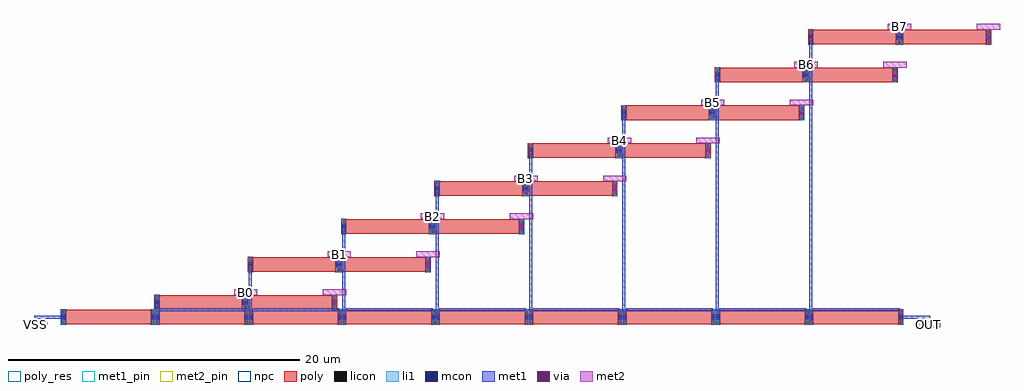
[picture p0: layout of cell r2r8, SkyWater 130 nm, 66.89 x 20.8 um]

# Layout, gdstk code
import gdstk
lib = gdstk.Library(unit=1e-6, precision=1e-09)
def R(c, l, rs):  # rectangles x0, y0, x1, y1
    for r in rs: c.add(gdstk.rectangle(r[:2], r[2:], *l))
def A(c, l, x, y, w, h, nx, ny, dx, dy):  # array of equal rectangles
    R(c, l, [(x+i*dx, y+j*dy, x+i*dx+w, y+j*dy+h) for i in range(nx) for j in range(ny)])
poly_res = (66, 13)
poly = (66, 20)
licon = (66, 44)
li1 = (67, 20)
mcon = (67, 44)
met1_pin = (68, 16)
met1 = (68, 20)
via = (68, 44)
met2_pin = (69, 16)
met2 = (69, 20)
npc = (95, 20)

r2r8 = lib.new_cell('r2r8')
A(r2r8, poly_res, 1, 1, 6, 1, 9, 1, 6.4, 0)
R(r2r8, poly_res, [(7.4,2,13.4,3), (13.4,2,19.4,3), (13.8,4.6,19.8,5.6), (19.8,4.6,25.8,5.6), (20.2,7.2,26.2,8.2), (26.2,7.2,32.2,8.2), (26.6,9.8,32.6,10.8), (32.6,9.8,38.6,10.8), (33,12.4,39,13.4), (39,12.4,45,13.4), (39.4,15,45.4,16), (45.4,15,51.4,16), (45.8,17.6,51.8,18.6), (51.8,17.6,57.8,18.6), (52.2,20.2,58.2,21.2), (58.2,20.2,64.2,21.2)])
A(r2r8, poly, 0.75, 1, 6.5, 1, 9, 1, 6.4, 0)
R(r2r8, poly, [(7.15,2,13.65,3), (13.15,2,19.65,3), (13.55,4.6,20.05,5.6), (19.55,4.6,26.05,5.6), (19.95,7.2,26.45,8.2), (25.95,7.2,32.45,8.2), (26.35,9.8,32.85,10.8), (32.35,9.8,38.85,10.8), (32.75,12.4,39.25,13.4), (38.75,12.4,45.25,13.4), (39.15,15,45.65,16), (45.15,15,51.65,16), (45.55,17.6,52.05,18.6), (51.55,17.6,58.05,18.6), (51.95,20.2,58.45,21.2), (57.95,20.2,64.45,21.2)])
A(r2r8, licon, 0.83, 1.075, 0.17, 0.17, 1, 3, 0, 0.34)
A(r2r8, licon, 7, 1.075, 0.17, 0.17, 1, 3, 0, 0.34)
A(r2r8, licon, 7.23, 1.075, 0.17, 0.17, 1, 3, 0, 0.34)
A(r2r8, licon, 13.4, 1.075, 0.17, 0.17, 1, 3, 0, 0.34)
A(r2r8, licon, 13.63, 1.075, 0.17, 0.17, 1, 3, 0, 0.34)
A(r2r8, licon, 19.8, 1.075, 0.17, 0.17, 1, 3, 0, 0.34)
A(r2r8, licon, 20.03, 1.075, 0.17, 0.17, 1, 3, 0, 0.34)
A(r2r8, licon, 26.2, 1.075, 0.17, 0.17, 1, 3, 0, 0.34)
A(r2r8, licon, 26.43, 1.075, 0.17, 0.17, 1, 3, 0, 0.34)
A(r2r8, licon, 32.6, 1.075, 0.17, 0.17, 1, 3, 0, 0.34)
A(r2r8, licon, 32.83, 1.075, 0.17, 0.17, 1, 3, 0, 0.34)
A(r2r8, licon, 39, 1.075, 0.17, 0.17, 1, 3, 0, 0.34)
A(r2r8, licon, 39.23, 1.075, 0.17, 0.17, 1, 3, 0, 0.34)
A(r2r8, licon, 45.4, 1.075, 0.17, 0.17, 1, 3, 0, 0.34)
A(r2r8, licon, 45.63, 1.075, 0.17, 0.17, 1, 3, 0, 0.34)
A(r2r8, licon, 51.8, 1.075, 0.17, 0.17, 1, 3, 0, 0.34)
A(r2r8, licon, 52.03, 1.075, 0.17, 0.17, 1, 3, 0, 0.34)
A(r2r8, licon, 58.2, 1.075, 0.17, 0.17, 1, 3, 0, 0.34)
A(r2r8, licon, 7.23, 2.075, 0.17, 0.17, 1, 3, 0, 0.34)
A(r2r8, licon, 13.23, 2.075, 0.17, 0.17, 1, 3, 0, 0.34)
A(r2r8, licon, 13.4, 2.075, 0.17, 0.17, 1, 3, 0, 0.34)
A(r2r8, licon, 19.4, 2.075, 0.17, 0.17, 1, 3, 0, 0.34)
A(r2r8, licon, 13.63, 4.675, 0.17, 0.17, 1, 3, 0, 0.34)
A(r2r8, licon, 19.63, 4.675, 0.17, 0.17, 1, 3, 0, 0.34)
A(r2r8, licon, 19.8, 4.675, 0.17, 0.17, 1, 3, 0, 0.34)
A(r2r8, licon, 25.8, 4.675, 0.17, 0.17, 1, 3, 0, 0.34)
A(r2r8, licon, 20.03, 7.275, 0.17, 0.17, 1, 3, 0, 0.34)
A(r2r8, licon, 26.03, 7.275, 0.17, 0.17, 1, 3, 0, 0.34)
A(r2r8, licon, 26.2, 7.275, 0.17, 0.17, 1, 3, 0, 0.34)
A(r2r8, licon, 32.2, 7.275, 0.17, 0.17, 1, 3, 0, 0.34)
A(r2r8, licon, 26.43, 9.875, 0.17, 0.17, 1, 3, 0, 0.34)
A(r2r8, licon, 32.43, 9.875, 0.17, 0.17, 1, 3, 0, 0.34)
A(r2r8, licon, 32.6, 9.875, 0.17, 0.17, 1, 3, 0, 0.34)
A(r2r8, licon, 38.6, 9.875, 0.17, 0.17, 1, 3, 0, 0.34)
A(r2r8, licon, 32.83, 12.475, 0.17, 0.17, 1, 3, 0, 0.34)
A(r2r8, licon, 38.83, 12.475, 0.17, 0.17, 1, 3, 0, 0.34)
A(r2r8, licon, 39, 12.475, 0.17, 0.17, 1, 3, 0, 0.34)
A(r2r8, licon, 45, 12.475, 0.17, 0.17, 1, 3, 0, 0.34)
A(r2r8, licon, 39.23, 15.075, 0.17, 0.17, 1, 3, 0, 0.34)
A(r2r8, licon, 45.23, 15.075, 0.17, 0.17, 1, 3, 0, 0.34)
A(r2r8, licon, 45.4, 15.075, 0.17, 0.17, 1, 3, 0, 0.34)
A(r2r8, licon, 51.4, 15.075, 0.17, 0.17, 1, 3, 0, 0.34)
A(r2r8, licon, 45.63, 17.675, 0.17, 0.17, 1, 3, 0, 0.34)
A(r2r8, licon, 51.63, 17.675, 0.17, 0.17, 1, 3, 0, 0.34)
A(r2r8, licon, 51.8, 17.675, 0.17, 0.17, 1, 3, 0, 0.34)
A(r2r8, licon, 57.8, 17.675, 0.17, 0.17, 1, 3, 0, 0.34)
A(r2r8, licon, 52.03, 20.275, 0.17, 0.17, 1, 3, 0, 0.34)
A(r2r8, licon, 58.03, 20.275, 0.17, 0.17, 1, 3, 0, 0.34)
A(r2r8, licon, 58.2, 20.275, 0.17, 0.17, 1, 3, 0, 0.34)
A(r2r8, licon, 64.2, 20.275, 0.17, 0.17, 1, 3, 0, 0.34)
R(r2r8, li1, [(0.83,0.995,1,2.005), (7,0.995,7.17,2.005), (7.23,0.995,7.4,2.005), (13.4,0.995,13.57,2.005), (13.63,0.995,13.8,2.005), (19.8,0.995,19.97,2.005), (20.03,0.995,20.2,2.005), (26.2,0.995,26.37,2.005), (26.43,0.995,26.6,2.005), (32.6,0.995,32.77,2.005), (32.83,0.995,33,2.005), (39,0.995,39.17,2.005), (39.23,0.995,39.4,2.005), (45.4,0.995,45.57,2.005), (45.63,0.995,45.8,2.005), (51.8,0.995,51.97,2.005), (52.03,0.995,52.2,2.005), (58.2,0.995,58.37,2.005), (0.83,1.335,1,1.665), (7,1.335,7.17,1.665), (7.23,1.335,7.4,1.665), (13.4,1.335,13.57,1.665), (13.63,1.335,13.8,1.665), (19.8,1.335,19.97,1.665), (20.03,1.335,20.2,1.665), (26.2,1.335,26.37,1.665), (26.43,1.335,26.6,1.665), (32.6,1.335,32.77,1.665), (32.83,1.335,33,1.665), (39,1.335,39.17,1.665), (39.23,1.335,39.4,1.665), (45.4,1.335,45.57,1.665), (45.63,1.335,45.8,1.665), (51.8,1.335,51.97,1.665), (52.03,1.335,52.2,1.665), (58.2,1.335,58.37,1.665), (7.23,1.995,7.4,3.005), (13.23,1.995,13.4,3.005), (13.4,1.995,13.57,3.005), (19.4,1.995,19.57,3.005), (7.23,2.335,7.4,2.665), (13.23,2.335,13.4,2.665), (13.4,2.335,13.57,2.665), (19.4,2.335,19.57,2.665), (13.63,4.595,13.8,5.605), (19.63,4.595,19.8,5.605), (19.8,4.595,19.97,5.605), (25.8,4.595,25.97,5.605), (13.63,4.935,13.8,5.265), (19.63,4.935,19.8,5.265), (19.8,4.935,19.97,5.265), (25.8,4.935,25.97,5.265), (20.03,7.195,20.2,8.205), (26.03,7.195,26.2,8.205), (26.2,7.195,26.37,8.205), (32.2,7.195,32.37,8.205), (20.03,7.535,20.2,7.865), (26.03,7.535,26.2,7.865), (26.2,7.535,26.37,7.865), (32.2,7.535,32.37,7.865), (26.43,9.795,26.6,10.805), (32.43,9.795,32.6,10.805), (32.6,9.795,32.77,10.805), (38.6,9.795,38.77,10.805), (26.43,10.135,26.6,10.465), (32.43,10.135,32.6,10.465), (32.6,10.135,32.77,10.465), (38.6,10.135,38.77,10.465), (32.83,12.395,33,13.405), (38.83,12.395,39,13.405), (39,12.395,39.17,13.405), (45,12.395,45.17,13.405), (32.83,12.735,33,13.065), (38.83,12.735,39,13.065), (39,12.735,39.17,13.065), (45,12.735,45.17,13.065), (39.23,14.995,39.4,16.005), (45.23,14.995,45.4,16.005), (45.4,14.995,45.57,16.005), (51.4,14.995,51.57,16.005), (39.23,15.335,39.4,15.665), (45.23,15.335,45.4,15.665), (45.4,15.335,45.57,15.665), (51.4,15.335,51.57,15.665), (45.63,17.595,45.8,18.605), (51.63,17.595,51.8,18.605), (51.8,17.595,51.97,18.605), (57.8,17.595,57.97,18.605), (45.63,17.935,45.8,18.265), (51.63,17.935,51.8,18.265), (51.8,17.935,51.97,18.265), (57.8,17.935,57.97,18.265), (52.03,20.195,52.2,21.205), (58.03,20.195,58.2,21.205), (58.2,20.195,58.37,21.205), (64.2,20.195,64.37,21.205), (52.03,20.535,52.2,20.865), (58.03,20.535,58.2,20.865), (58.2,20.535,58.37,20.865), (64.2,20.535,64.37,20.865)])
R(r2r8, mcon, [(0.83,1.415,1,1.585), (7,1.415,7.17,1.585), (7.23,1.415,7.4,1.585), (13.4,1.415,13.57,1.585), (13.63,1.415,13.8,1.585), (19.8,1.415,19.97,1.585), (20.03,1.415,20.2,1.585), (26.2,1.415,26.37,1.585), (26.43,1.415,26.6,1.585), (32.6,1.415,32.77,1.585), (32.83,1.415,33,1.585), (39,1.415,39.17,1.585), (39.23,1.415,39.4,1.585), (45.4,1.415,45.57,1.585), (45.63,1.415,45.8,1.585), (51.8,1.415,51.97,1.585), (52.03,1.415,52.2,1.585), (58.2,1.415,58.37,1.585), (7.23,2.415,7.4,2.585), (13.23,2.415,13.4,2.585), (13.4,2.415,13.57,2.585), (19.4,2.415,19.57,2.585), (13.63,5.015,13.8,5.185), (19.63,5.015,19.8,5.185), (19.8,5.015,19.97,5.185), (25.8,5.015,25.97,5.185), (20.03,7.615,20.2,7.785), (26.03,7.615,26.2,7.785), (26.2,7.615,26.37,7.785), (32.2,7.615,32.37,7.785), (26.43,10.215,26.6,10.385), (32.43,10.215,32.6,10.385), (32.6,10.215,32.77,10.385), (38.6,10.215,38.77,10.385), (32.83,12.815,33,12.985), (38.83,12.815,39,12.985), (39,12.815,39.17,12.985), (45,12.815,45.17,12.985), (39.23,15.415,39.4,15.585), (45.23,15.415,45.4,15.585), (45.4,15.415,45.57,15.585), (51.4,15.415,51.57,15.585), (45.63,18.015,45.8,18.185), (51.63,18.015,51.8,18.185), (51.8,18.015,51.97,18.185), (57.8,18.015,57.97,18.185), (52.03,20.615,52.2,20.785), (58.03,20.615,58.2,20.785), (58.2,20.615,58.37,20.785), (64.2,20.615,64.37,20.785)])
R(r2r8, met1_pin, [(-1.8,0.8,-0.2,1.2), (59.4,0.8,61,1.2)])
A(r2r8, met1, 7.085, 1.4, 0.23, 0.2, 8, 1, 6.4, 0)
A(r2r8, met1, 7.215, 1.9, 6.185, 0.2, 8, 1, 6.4, 0)
R(r2r8, met1, [(-1.8,0.8,-0.2,1.2), (59.4,0.8,61,1.2), (-1.1,1,-0.9,1.6), (60.1,1,60.3,1.6), (0.8,1.315,1.03,1.685), (6.97,1.315,7.2,1.685), (7.2,1.315,7.43,1.685), (13.37,1.315,13.6,1.685), (13.6,1.315,13.83,1.685), (19.77,1.315,20,1.685), (20,1.315,20.23,1.685), (26.17,1.315,26.4,1.685), (26.4,1.315,26.63,1.685), (32.57,1.315,32.8,1.685), (32.8,1.315,33.03,1.685), (38.97,1.315,39.2,1.685), (39.2,1.315,39.43,1.685), (45.37,1.315,45.6,1.685), (45.6,1.315,45.83,1.685), (51.77,1.315,52,1.685), (52,1.315,52.23,1.685), (58.17,1.315,58.4,1.685), (-1.1,1.4,0.915,1.6), (58.285,1.4,60.3,1.6), (7.215,1.9,7.415,2.5), (13.615,1.9,13.815,5.1), (20.015,1.9,20.215,7.7), (26.415,1.9,26.615,10.3), (32.815,1.9,33.015,12.9), (39.215,1.9,39.415,15.5), (45.615,1.9,45.815,18.1), (52.015,1.9,52.215,20.7), (7.2,2.315,7.43,2.685), (13.2,2.315,13.43,2.685), (13.37,2.315,13.6,2.685), (19.37,2.315,19.6,2.685), (19.355,2.34,19.615,2.66), (13.315,2.4,13.485,2.6), (13.6,4.915,13.83,5.285), (19.6,4.915,19.83,5.285), (19.77,4.915,20,5.285), (25.77,4.915,26,5.285), (25.755,4.94,26.015,5.26), (19.715,5,19.885,5.2), (20,7.515,20.23,7.885), (26,7.515,26.23,7.885), (26.17,7.515,26.4,7.885), (32.17,7.515,32.4,7.885), (32.155,7.54,32.415,7.86), (26.115,7.6,26.285,7.8), (26.4,10.115,26.63,10.485), (32.4,10.115,32.63,10.485), (32.57,10.115,32.8,10.485), (38.57,10.115,38.8,10.485), (38.555,10.14,38.815,10.46), (32.515,10.2,32.685,10.4), (32.8,12.715,33.03,13.085), (38.8,12.715,39.03,13.085), (38.97,12.715,39.2,13.085), (44.97,12.715,45.2,13.085), (44.955,12.74,45.215,13.06), (38.915,12.8,39.085,13), (39.2,15.315,39.43,15.685), (45.2,15.315,45.43,15.685), (45.37,15.315,45.6,15.685), (51.37,15.315,51.6,15.685), (51.355,15.34,51.615,15.66), (45.315,15.4,45.485,15.6), (45.6,17.915,45.83,18.285), (51.6,17.915,51.83,18.285), (51.77,17.915,52,18.285), (57.77,17.915,58,18.285), (57.755,17.94,58.015,18.26), (51.715,18,51.885,18.2), (52,20.515,52.23,20.885), (58,20.515,58.23,20.885), (58.17,20.515,58.4,20.885), (64.17,20.515,64.4,20.885), (64.155,20.54,64.415,20.86), (58.115,20.6,58.285,20.8)])
R(r2r8, via, [(19.41,2.425,19.56,2.575), (25.81,5.025,25.96,5.175), (32.21,7.625,32.36,7.775), (38.61,10.225,38.76,10.375), (45.01,12.825,45.16,12.975), (51.41,15.425,51.56,15.575), (57.81,18.025,57.96,18.175), (64.21,20.625,64.36,20.775)])
R(r2r8, met2_pin, [(12.6,3,14.2,3.4), (19,5.6,20.6,6), (25.4,8.2,27,8.6), (31.8,10.8,33.4,11.2), (38.2,13.4,39.8,13.8), (44.6,16,46.2,16.4), (51,18.6,52.6,19), (57.4,21.2,59,21.6)])
R(r2r8, met2, [(19.355,2.34,19.615,2.66), (12.6,3,14.2,3.4), (18.685,3,20.285,3.4), (25.755,4.94,26.015,5.26), (19,5.6,20.6,6), (25.085,5.6,26.685,6), (32.155,7.54,32.415,7.86), (25.4,8.2,27,8.6), (31.485,8.2,33.085,8.6), (38.555,10.14,38.815,10.46), (31.8,10.8,33.4,11.2), (37.885,10.8,39.485,11.2), (44.955,12.74,45.215,13.06), (38.2,13.4,39.8,13.8), (44.285,13.4,45.885,13.8), (51.355,15.34,51.615,15.66), (44.6,16,46.2,16.4), (50.685,16,52.285,16.4), (57.755,17.94,58.015,18.26), (51,18.6,52.6,19), (57.085,18.6,58.685,19), (64.155,20.54,64.415,20.86), (57.4,21.2,59,21.6), (63.485,21.2,65.085,21.6)])
R(r2r8, npc, [(0.73,0.975,1.1,2.025), (6.9,0.975,7.27,2.025), (7.13,0.975,7.5,2.025), (13.3,0.975,13.67,2.025), (13.53,0.975,13.9,2.025), (19.7,0.975,20.07,2.025), (19.93,0.975,20.3,2.025), (26.1,0.975,26.47,2.025), (26.33,0.975,26.7,2.025), (32.5,0.975,32.87,2.025), (32.73,0.975,33.1,2.025), (38.9,0.975,39.27,2.025), (39.13,0.975,39.5,2.025), (45.3,0.975,45.67,2.025), (45.53,0.975,45.9,2.025), (51.7,0.975,52.07,2.025), (51.93,0.975,52.3,2.025), (58.1,0.975,58.47,2.025), (7.13,1.975,7.5,3.025), (13.13,1.975,13.5,3.025), (13.3,1.975,13.67,3.025), (19.3,1.975,19.67,3.025), (13.53,4.575,13.9,5.625), (19.53,4.575,19.9,5.625), (19.7,4.575,20.07,5.625), (25.7,4.575,26.07,5.625), (19.93,7.175,20.3,8.225), (25.93,7.175,26.3,8.225), (26.1,7.175,26.47,8.225), (32.1,7.175,32.47,8.225), (26.33,9.775,26.7,10.825), (32.33,9.775,32.7,10.825), (32.5,9.775,32.87,10.825), (38.5,9.775,38.87,10.825), (32.73,12.375,33.1,13.425), (38.73,12.375,39.1,13.425), (38.9,12.375,39.27,13.425), (44.9,12.375,45.27,13.425), (39.13,14.975,39.5,16.025), (45.13,14.975,45.5,16.025), (45.3,14.975,45.67,16.025), (51.3,14.975,51.67,16.025), (45.53,17.575,45.9,18.625), (51.53,17.575,51.9,18.625), (51.7,17.575,52.07,18.625), (57.7,17.575,58.07,18.625), (51.93,20.175,52.3,21.225), (57.93,20.175,58.3,21.225), (58.1,20.175,58.47,21.225), (64.1,20.175,64.47,21.225)])
r2r8.add(gdstk.Label('VSS', (-1,1), layer=68, texttype=16))
r2r8.add(gdstk.Label('OUT', (60.2,1), layer=68, texttype=16))
r2r8.add(gdstk.Label('VSS', (-1,1), layer=68, texttype=5))
r2r8.add(gdstk.Label('OUT', (60.2,1), layer=68, texttype=5))
r2r8.add(gdstk.Label('B0', (13.4,3.2), layer=69, texttype=16))
r2r8.add(gdstk.Label('B1', (19.8,5.8), layer=69, texttype=16))
r2r8.add(gdstk.Label('B2', (26.2,8.4), layer=69, texttype=16))
r2r8.add(gdstk.Label('B3', (32.6,11), layer=69, texttype=16))
r2r8.add(gdstk.Label('B4', (39,13.6), layer=69, texttype=16))
r2r8.add(gdstk.Label('B5', (45.4,16.2), layer=69, texttype=16))
r2r8.add(gdstk.Label('B6', (51.8,18.8), layer=69, texttype=16))
r2r8.add(gdstk.Label('B7', (58.2,21.4), layer=69, texttype=16))
r2r8.add(gdstk.Label('B0', (13.4,3.2), layer=69, texttype=5))
r2r8.add(gdstk.Label('B1', (19.8,5.8), layer=69, texttype=5))
r2r8.add(gdstk.Label('B2', (26.2,8.4), layer=69, texttype=5))
r2r8.add(gdstk.Label('B3', (32.6,11), layer=69, texttype=5))
r2r8.add(gdstk.Label('B4', (39,13.6), layer=69, texttype=5))
r2r8.add(gdstk.Label('B5', (45.4,16.2), layer=69, texttype=5))
r2r8.add(gdstk.Label('B6', (51.8,18.8), layer=69, texttype=5))
r2r8.add(gdstk.Label('B7', (58.2,21.4), layer=69, texttype=5))

lib.write_gds('r2r8.gds')
